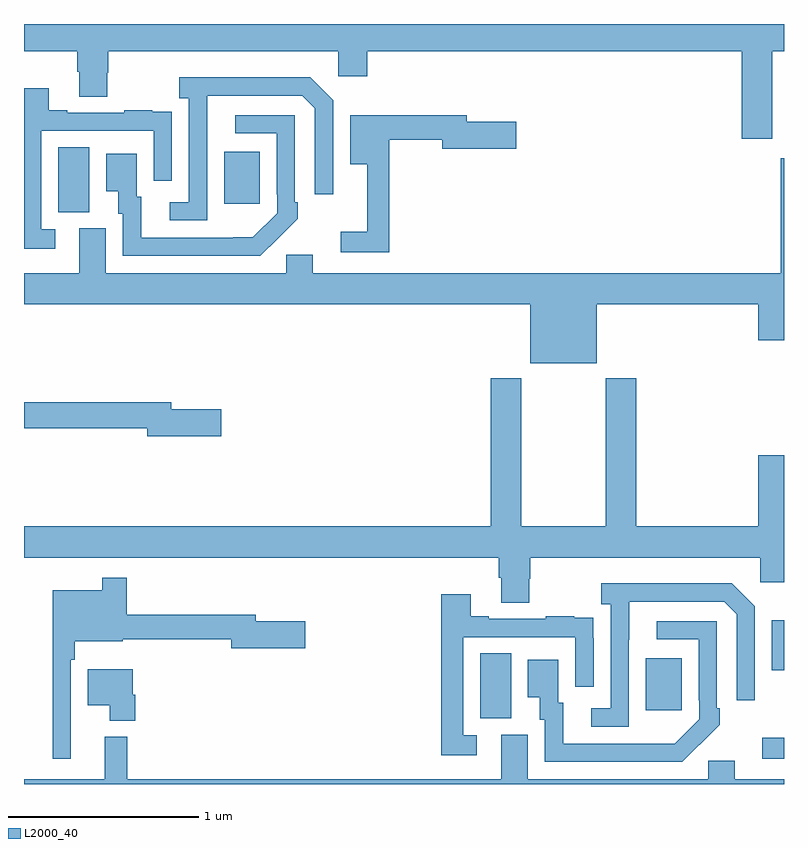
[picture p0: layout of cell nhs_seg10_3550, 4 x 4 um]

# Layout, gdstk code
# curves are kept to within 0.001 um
import gdstk
lib = gdstk.Library(unit=1e-6, precision=1e-09)
def R(c, l, rs):  # rectangles x0, y0, x1, y1
    for r in rs: c.add(gdstk.rectangle(r[:2], r[2:], *l))
def P(c, l, *ps):  # polygons
    for p in ps: c.add(gdstk.Polygon(p, *l))
L2000_40 = (2000, 40)

nhs_seg10_3550 = lib.new_cell('nhs_seg10_3550')
R(nhs_seg10_3550, L2000_40, [(308.886,1256.634,309,1256.743), (307.4,1256.845,307.564,1257.188), (308.273,1256.889,308.461,1257.163), (308.936,1257.098,309,1257.363), (305.18,1259.509,305.344,1259.852), (306.053,1259.553,306.241,1259.827)])
P(nhs_seg10_3550, L2000_40, [(308.937,1260.356),(309,1260.356),(309,1260.5),(305,1260.5),(305,1260.356),(305.279,1260.356),(305.279,1260.25),(305.291,1260.25),(305.291,1260.118),(305.439,1260.118),(305.439,1260.243),(305.444,1260.243),(305.444,1260.356),(306.654,1260.356),(306.654,1260.225),(306.806,1260.225),(306.806,1260.356),(308.777,1260.356),(308.777,1259.895),(308.937,1259.895)],
  [(305.964,1259.923),(305.965,1260.123),(306.465,1260.123),(306.531,1260.057),(306.531,1259.604),(306.627,1259.604),(306.627,1260.099),(306.506,1260.22),(305.817,1260.22),(305.817,1260.11),(305.868,1260.11),(305.868,1259.562),(305.766,1259.562),(305.766,1259.466),(305.964,1259.466)],
  [(305.164,1259.421),(305.091,1259.421),(305.091,1259.937),(305.682,1259.937),(305.682,1259.676),(305.778,1259.676),(305.778,1259.93),(305.777,1259.93),(305.777,1260.039),(305.675,1260.039),(305.675,1260.046),(305.527,1260.046),(305.527,1260.033),(305.227,1260.033),(305.227,1260.046),(305.131,1260.046),(305.131,1260.163),(305,1260.163),(305,1259.316),(305.164,1259.316)],
  [(306.335,1259.371),(306.336,1259.37),(306.441,1259.475),(306.441,1259.563),(306.426,1259.563),(306.426,1260.021),(306.111,1260.021),(306.111,1259.925),(306.33,1259.925),(306.33,1259.605),(306.333,1259.605),(306.333,1259.505),(306.205,1259.377),(305.617,1259.376),(305.617,1259.592),(305.593,1259.592),(305.593,1259.818),(305.432,1259.818),(305.432,1259.621),(305.495,1259.621),(305.495,1259.502),(305.52,1259.502),(305.52,1259.28),(306.244,1259.28)],
  [(306.923,1259.89),(307.202,1259.89),(307.202,1259.843),(307.591,1259.843),(307.591,1259.985),(307.33,1259.985),(307.33,1260.019),(306.716,1260.019),(306.716,1259.762),(306.806,1259.762),(306.806,1259.407),(306.666,1259.407),(306.666,1259.298),(306.923,1259.298)],
  [(308.014,1259.024),(308.864,1259.024),(308.864,1258.836),(309,1258.836),(309,1259.794),(308.984,1259.794),(308.984,1259.188),(306.52,1259.188),(306.52,1259.286),(306.381,1259.286),(306.381,1259.188),(305.431,1259.188),(305.431,1259.424),(305.291,1259.424),(305.291,1259.188),(305,1259.188),(305,1259.024),(307.664,1259.024),(307.664,1258.715),(308.014,1258.715)],
  [(307.659,1257.579),(307.664,1257.579),(307.664,1257.692),(308.874,1257.692),(308.874,1257.561),(309,1257.561),(309,1258.231),(308.864,1258.231),(308.864,1257.856),(308.222,1257.856),(308.222,1258.636),(308.062,1258.636),(308.062,1257.856),(307.617,1257.856),(307.617,1258.636),(307.457,1258.636),(307.457,1257.856),(305,1257.856),(305,1257.692),(307.499,1257.692),(307.499,1257.586),(307.511,1257.586),(307.511,1257.454),(307.659,1257.454)],
  [(306.037,1258.472),(305.776,1258.472),(305.776,1258.508),(305,1258.508),(305,1258.372),(305.648,1258.372),(305.648,1258.33),(306.037,1258.33)],
  [(305.247,1257.155),(305.267,1257.155),(305.267,1257.251),(305.521,1257.251),(305.521,1257.262),(306.092,1257.262),(306.092,1257.215),(306.481,1257.215),(306.481,1257.357),(306.22,1257.357),(306.22,1257.391),(305.54,1257.391),(305.54,1257.586),(305.412,1257.586),(305.412,1257.52),(305.15,1257.52),(305.15,1256.634),(305.247,1256.634)],
  [(308.184,1257.259),(308.185,1257.459),(308.685,1257.459),(308.751,1257.393),(308.751,1256.94),(308.847,1256.94),(308.847,1257.435),(308.726,1257.556),(308.037,1257.556),(308.037,1257.446),(308.088,1257.446),(308.088,1256.898),(307.986,1256.898),(307.986,1256.802),(308.184,1256.802)],
  [(307.384,1256.757),(307.311,1256.757),(307.311,1257.273),(307.902,1257.273),(307.902,1257.012),(307.998,1257.012),(307.998,1257.266),(307.997,1257.266),(307.997,1257.375),(307.895,1257.375),(307.895,1257.382),(307.747,1257.382),(307.747,1257.369),(307.447,1257.369),(307.447,1257.382),(307.351,1257.382),(307.351,1257.499),(307.195,1257.499),(307.195,1256.652),(307.384,1256.652)],
  [(308.555,1256.707),(308.556,1256.706),(308.661,1256.811),(308.661,1256.899),(308.646,1256.899),(308.646,1257.357),(308.331,1257.357),(308.331,1257.261),(308.55,1257.261),(308.55,1256.941),(308.553,1256.941),(308.553,1256.841),(308.425,1256.713),(307.837,1256.712),(307.837,1256.928),(307.813,1256.928),(307.813,1257.154),(307.652,1257.154),(307.652,1256.957),(307.715,1256.957),(307.715,1256.838),(307.74,1256.838),(307.74,1256.616),(308.464,1256.616)],
  [(305.585,1256.97),(305.572,1256.97),(305.572,1257.103),(305.336,1257.103),(305.336,1256.915),(305.45,1256.915),(305.45,1256.834),(305.585,1256.834)],
  [(309,1256.524),(308.74,1256.524),(308.74,1256.622),(308.601,1256.622),(308.601,1256.524),(307.651,1256.524),(307.651,1256.76),(307.511,1256.76),(307.511,1256.524),(305.543,1256.524),(305.543,1256.749),(305.426,1256.749),(305.426,1256.524),(305,1256.524),(305,1256.5),(309,1256.5)])

lib.write_gds('nhs_seg10_3550.gds')
